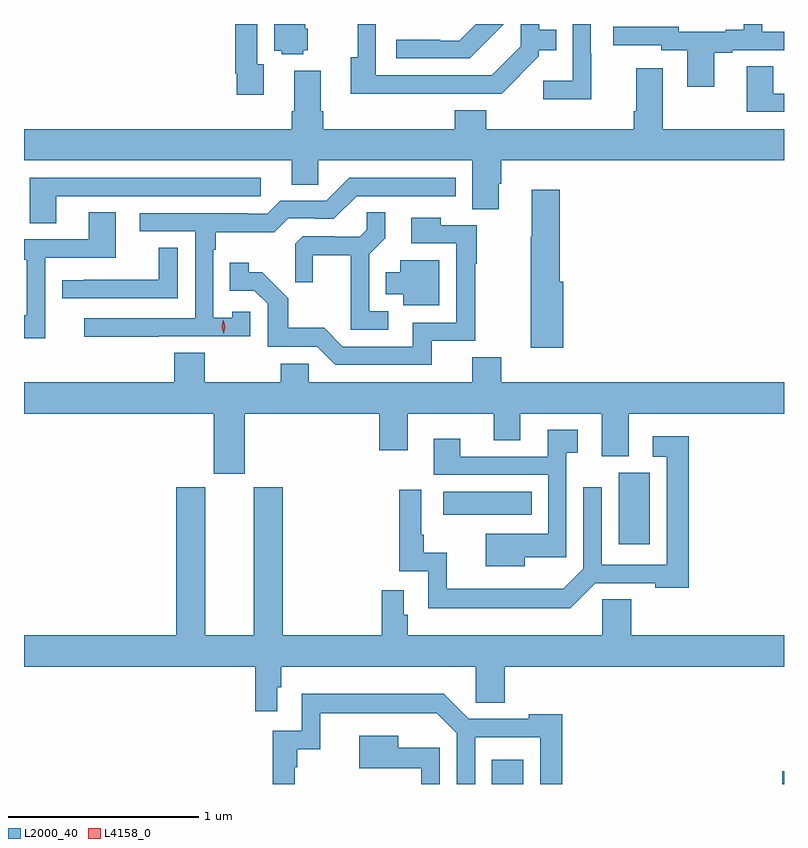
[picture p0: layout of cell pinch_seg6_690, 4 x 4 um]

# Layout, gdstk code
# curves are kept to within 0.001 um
import gdstk
lib = gdstk.Library(unit=1e-6, precision=1e-09)
def R(c, l, rs):  # rectangles x0, y0, x1, y1
    for r in rs: c.add(gdstk.rectangle(r[:2], r[2:], *l))
def P(c, l, *ps):  # polygons
    for p in ps: c.add(gdstk.Polygon(p, *l))
L2000_40 = (2000, 40)
L4158_0 = (4158, 0)

pinch_seg6_690 = lib.new_cell('pinch_seg6_690')
R(pinch_seg6_690, L2000_40, [(436.424,932.066,436.588,932.194), (437.952,932.066,437.961,932.132), (437.09,933.327,437.254,933.705), (436.167,933.482,436.634,933.604)])
P(pinch_seg6_690, L2000_40, [(437.593,935.916),(437.689,935.916),(437.689,935.928),(437.961,935.928),(437.961,936.024),(437.847,936.024),(437.847,936.066),(437.75,936.066),(437.75,936.037),(437.654,936.037),(437.654,936.024),(437.406,936.024),(437.406,936.051),(437.061,936.051),(437.061,935.955),(437.316,935.955),(437.316,935.928),(437.453,935.928),(437.453,935.736),(437.593,935.736)],
  [(436.485,936.065),(436.485,936.066),(436.338,936.066),(436.251,935.979),(436.151,935.979),(436.151,935.982),(435.921,935.982),(435.921,935.886),(436.306,935.886)],
  [(435.223,935.855),(435.189,935.855),(435.189,936.066),(435.073,936.066),(435.073,935.806),(435.081,935.806),(435.081,935.694),(435.223,935.694)],
  [(436.145,935.7),(436.476,935.7),(436.671,935.895),(436.671,935.927),(436.763,935.927),(436.763,936.037),(436.672,936.037),(436.672,936.066),(436.575,936.066),(436.575,935.949),(436.422,935.796),(435.813,935.796),(435.813,936.066),(435.717,936.066),(435.717,935.89),(435.68,935.89),(435.68,935.699)],
  [(436.947,935.909),(436.944,935.909),(436.944,936.066),(436.848,936.066),(436.848,935.767),(436.695,935.767),(436.695,935.669),(436.947,935.669)],
  [(435.432,935.928),(435.454,935.928),(435.454,936.042),(435.442,936.042),(435.442,936.066),(435.278,936.066),(435.278,935.924),(435.318,935.924),(435.318,935.906),(435.432,935.906)],
  [(437.961,935.7),(437.905,935.7),(437.905,935.843),(437.765,935.843),(437.765,935.604),(437.961,935.604)],
  [(435.51,935.348),(436.319,935.348),(436.319,935.092),(436.459,935.092),(436.459,935.226),(436.472,935.226),(436.472,935.348),(437.961,935.348),(437.961,935.512),(437.323,935.512),(437.323,935.833),(437.183,935.833),(437.183,935.608),(437.171,935.608),(437.171,935.512),(436.394,935.512),(436.394,935.611),(436.229,935.611),(436.229,935.512),(435.536,935.512),(435.536,935.608),(435.523,935.608),(435.523,935.821),(435.383,935.821),(435.383,935.608),(435.371,935.608),(435.371,935.512),(433.961,935.512),(433.961,935.348),(435.371,935.348),(435.371,935.221),(435.51,935.221)],
  [(434.669,934.422),(435.153,934.422),(435.153,934.551),(435.057,934.551),(435.057,934.519),(434.958,934.519),(434.958,934.877),(434.971,934.877),(434.971,934.97),(435.278,934.97),(435.351,935.043),(435.49,935.043),(435.49,935.04),(435.591,935.04),(435.711,935.16),(436.234,935.16),(436.234,935.256),(435.672,935.256),(435.552,935.136),(435.309,935.136),(435.24,935.067),(435.14,935.067),(435.14,935.07),(434.571,935.07),(434.571,934.974),(434.862,934.974),(434.862,934.518),(434.277,934.518),(434.277,934.42),(434.669,934.42)],
  [(434.131,935.16),(435.208,935.16),(435.208,935.256),(433.991,935.256),(433.991,935.017),(434.131,935.017)],
  [(436.799,934.71),(436.781,934.71),(436.781,935.194),(436.634,935.194),(436.634,934.946),(436.627,934.946),(436.627,934.71),(436.628,934.71),(436.628,934.362),(436.799,934.362)],
  [(434.073,934.836),(434.443,934.836),(434.443,935.075),(434.303,935.075),(434.303,934.932),(433.961,934.932),(433.961,934.824),(433.976,934.824),(433.976,934.533),(433.961,934.533),(433.961,934.413),(434.073,934.413)],
  [(435.877,934.554),(435.777,934.554),(435.777,934.853),(435.863,934.939),(435.863,935.075),(435.765,935.075),(435.765,934.984),(435.728,934.947),(435.594,934.947),(435.594,934.95),(435.429,934.95),(435.388,934.909),(435.388,934.707),(435.482,934.707),(435.482,934.85),(435.68,934.85),(435.68,934.458),(435.877,934.458)],
  [(436.106,934.398),(436.337,934.398),(436.337,934.804),(436.345,934.804),(436.345,935.007),(436.155,935.007),(436.155,935.047),(435.999,935.047),(435.999,934.911),(436.236,934.911),(436.236,934.494),(436.007,934.494),(436.007,934.368),(435.639,934.368),(435.541,934.467),(435.352,934.467),(435.352,934.622),(435.214,934.76),(435.144,934.76),(435.144,934.81),(435.043,934.81),(435.043,934.662),(435.174,934.662),(435.243,934.593),(435.243,934.368),(435.504,934.368),(435.6,934.272),(436.106,934.272)],
  [(434.769,934.889),(434.671,934.889),(434.671,934.719),(434.275,934.719),(434.275,934.718),(434.163,934.718),(434.163,934.623),(434.769,934.623)],
  [(436.147,934.822),(435.941,934.822),(435.941,934.759),(435.866,934.759),(435.866,934.643),(435.956,934.643),(435.956,934.586),(436.147,934.586)],
  [(435.124,934.016),(435.83,934.016),(435.83,933.822),(435.982,933.822),(435.982,934.016),(436.433,934.016),(436.433,933.874),(436.573,933.874),(436.573,934.016),(437.003,934.016),(437.003,933.79),(437.143,933.79),(437.143,934.016),(437.961,934.016),(437.961,934.18),(436.472,934.18),(436.472,934.313),(436.319,934.313),(436.319,934.18),(435.459,934.18),(435.459,934.278),(435.313,934.278),(435.313,934.18),(434.913,934.18),(434.913,934.337),(434.753,934.337),(434.753,934.18),(433.961,934.18),(433.961,934.016),(434.96,934.016),(434.96,933.699),(435.124,933.699)],
  [(436.597,933.26),(436.815,933.26),(436.815,933.81),(436.876,933.81),(436.876,933.931),(436.718,933.931),(436.718,933.789),(436.258,933.789),(436.258,933.883),(436.118,933.883),(436.118,933.693),(436.719,933.693),(436.719,933.382),(436.391,933.382),(436.391,933.212),(436.597,933.212)],
  [(436.968,933.123),(437.283,933.123),(437.283,933.098),(437.459,933.098),(437.459,933.895),(437.271,933.895),(437.271,933.789),(437.343,933.789),(437.343,933.219),(437.001,933.219),(437.001,933.628),(436.905,933.628),(436.905,933.198),(436.8,933.093),(436.187,933.094),(436.187,933.284),(436.066,933.284),(436.066,933.379),(436.053,933.379),(436.053,933.616),(435.937,933.616),(435.937,933.186),(436.089,933.186),(436.089,932.99),(436.835,932.99)],
  [(435.17,932.848),(434.914,932.848),(434.914,933.627),(434.762,933.627),(434.762,932.848),(433.961,932.848),(433.961,932.684),(435.178,932.684),(435.178,932.448),(435.294,932.448),(435.294,932.574),(435.314,932.574),(435.314,932.684),(436.339,932.684),(436.339,932.494),(436.49,932.494),(436.49,932.684),(437.961,932.684),(437.961,932.848),(437.156,932.848),(437.156,933.038),(437.005,933.038),(437.005,932.848),(435.98,932.848),(435.98,932.958),(435.96,932.958),(435.96,933.085),(435.844,933.085),(435.844,932.848),(435.323,932.848),(435.323,933.627),(435.17,933.627)],
  [(435.387,932.153),(435.4,932.153),(435.4,932.249),(435.521,932.249),(435.521,932.438),(436.134,932.439),(436.239,932.334),(436.239,932.066),(436.335,932.066),(436.335,932.313),(436.677,932.313),(436.677,932.066),(436.793,932.066),(436.793,932.434),(436.617,932.434),(436.617,932.409),(436.302,932.409),(436.169,932.542),(435.423,932.542),(435.423,932.346),(435.271,932.346),(435.271,932.066),(435.387,932.066)],
  [(436.149,932.257),(435.931,932.257),(435.931,932.32),(435.725,932.32),(435.725,932.15),(436.053,932.15),(436.053,932.066),(436.149,932.066)])
P(pinch_seg6_690, L4158_0, [(435.011,934.437),(435.001,934.473),(435.01,934.509),(435.01,934.509),(435.01,934.509),(435.021,934.473),(435.012,934.437),(435.012,934.437)])

lib.write_gds('pinch_seg6_690.gds')
